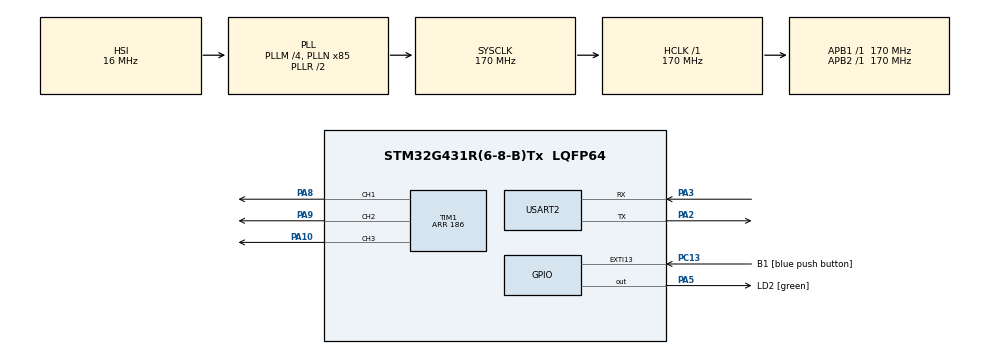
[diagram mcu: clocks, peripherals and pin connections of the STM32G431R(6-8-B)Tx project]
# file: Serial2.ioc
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Mcu.Family=STM32G4
Mcu.Name=STM32G431R(6-8-B)Tx
Mcu.Package=LQFP64
NVIC.PriorityGroup=NVIC_PRIORITYGROUP_4
NVIC.USART2_IRQn=true\:0\:0\:false\:false\:true\:true\:true\:true
PA10.Signal=S_TIM1_CH3
PA13.GPIO_Label=T_SWDIO
PA13.Mode=Serial_Wire
PA13.Signal=SYS_JTMS-SWDIO
PA14.GPIO_Label=T_SWCLK
PA14.Mode=Serial_Wire
PA14.Signal=SYS_JTCK-SWCLK
PA2.Mode=Asynchronous
PA2.Signal=USART2_TX
PA3.Mode=Asynchronous
PA3.Signal=USART2_RX
PA5.GPIO_Label=LD2 [green]
PA5.Signal=GPIO_Output
PA8.Signal=S_TIM1_CH1
PA9.Signal=S_TIM1_CH2
PB3.GPIO_Label=T_SWO
PB3.Signal=SYS_JTDO-SWO
PC13.GPIO_Label=B1 [blue push button]
PC13.Signal=GPXTI13
PC14-OSC32_IN.Mode=LSE-External-Oscillator
PC14-OSC32_IN.Signal=RCC_OSC32_IN
PC15-OSC32_OUT.Mode=LSE-External-Oscillator
PC15-OSC32_OUT.Signal=RCC_OSC32_OUT
PF0-OSC_IN.Mode=HSE-External-Oscillator
PF0-OSC_IN.Signal=RCC_OSC_IN
PF1-OSC_OUT.Mode=HSE-External-Oscillator
PF1-OSC_OUT.Signal=RCC_OSC_OUT
ProjectManager.HeapSize=0x200
ProjectManager.StackSize=0x400
ProjectManager.TargetToolchain=STM32CubeIDE
RCC.ADC12Freq_Value=170000000
RCC.AHBFreq_Value=170000000
RCC.APB1Freq_Value=170000000
RCC.APB1TimFreq_Value=170000000
RCC.APB2Freq_Value=170000000
RCC.APB2TimFreq_Value=170000000
RCC.CortexFreq_Value=170000000
RCC.EXTERNAL_CLOCK_VALUE=12288000
RCC.HCLKFreq_Value=170000000
RCC.HSE_VALUE=24000000
RCC.HSI48_VALUE=48000000
RCC.HSI_VALUE=16000000
RCC.PLLM=RCC_PLLM_DIV4
RCC.PLLN=85
RCC.RTCClockSelection=RCC_RTCCLKSOURCE_LSE
RCC.SYSCLKFreq_VALUE=170000000
RCC.SYSCLKSource=RCC_SYSCLKSOURCE_PLLCLK
RCC.USBFreq_Value=170000000
RCC.VCOOutputFreq_Value=340000000
SH.S_TIM1_CH1.0=TIM1_CH1,PWM Generation1 CH1
SH.S_TIM1_CH2.0=TIM1_CH2,PWM Generation2 CH2
SH.S_TIM1_CH3.0=TIM1_CH3,PWM Generation3 CH3
TIM1.Channel-PWM\ Generation1\ CH1=TIM_CHANNEL_1
TIM1.Channel-PWM\ Generation2\ CH2=TIM_CHANNEL_2
TIM1.Channel-PWM\ Generation3\ CH3=TIM_CHANNEL_3
TIM1.PeriodNoDither=186
TIM1.PulseNoDither_1=186/4
TIM1.PulseNoDither_2=186/4
TIM1.PulseNoDither_3=186/4
USART2.VirtualMode-Asynchronous=VM_ASYNC
VP_SYS_VS_DBSignals.Mode=DisableDeadBatterySignals
VP_TIM1_VS_ClockSourceINT.Mode=Internal
board=NUCLEO-G431RB

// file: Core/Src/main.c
/* USER CODE BEGIN Header */
/**
  ******************************************************************************
  * @file           : main.c
  * @brief          : Main program body
  ******************************************************************************
  * @attention
  *
  * Copyright (c) 2024 STMicroelectronics.
  * All rights reserved.
  *
  * This software is licensed under terms that can be found in the LICENSE file
  * in the root directory of this software component.
  * If no LICENSE file comes with this software, it is provided AS-IS.
  *
  ******************************************************************************
  */
/* USER CODE END Header */
#include "main.h"

TIM_HandleTypeDef htim1;

UART_HandleTypeDef huart2;

/* USER CODE BEGIN PV */
typedef enum {
	COMSTATE_SYNCH,
	COMSTATE_SIZE,
	COMSTATE_PAYLOAD
} comState_t;

comState_t comState = COMSTATE_SYNCH;
uint8_t rxBuff[255];
uint8_t txAck[1] = { 0x55 };
uint8_t txAckSz[1] = { 0x66 };
uint8_t txAckPl[1];

uint16_t payloadLen = 0;
uint32_t tk = 0, lastTk = 0;
uint32_t timeOut_ms = 1000;
/* USER CODE END PV */

void SystemClock_Config(void);
static void MX_GPIO_Init(void);
static void MX_USART2_UART_Init(void);
static void MX_TIM1_Init(void);

/* USER CODE BEGIN 0 */
uint8_t computeAck(uint8_t* buff, uint16_t len) {
	uint32_t sum = 0;
	for (uint8_t i = 0; i < len; i++) {
		sum += buff[i];
	}
	sum = sum & 0xffff;
	uint8_t lowByte = sum & 0xff; // Extract the low byte
	uint8_t highByte = (sum >> 8) & 0xff; // Extract the high byte
	return lowByte + highByte;
}

uint16_t ARR;
uint8_t countingMode;
uint16_t CCR1;
uint8_t mode1;
uint16_t CCR2;
uint8_t mode2;
uint16_t CCR3;
uint8_t mode3;

void setCountingMode(uint8_t countingMode) {
	uint32_t tmpcr1 = TIM1->CR1;
	if (countingMode == 0) {
		tmpcr1 &= ~(TIM_CR1_DIR | TIM_CR1_CMS);
		tmpcr1 |= TIM_COUNTERMODE_UP;
	}
	if (countingMode == 1) {
		tmpcr1 &= ~(TIM_CR1_DIR | TIM_CR1_CMS);
		tmpcr1 |= TIM_COUNTERMODE_DOWN;
	}
	if (countingMode == 2) {
		tmpcr1 &= ~(TIM_CR1_DIR | TIM_CR1_CMS);
		tmpcr1 |= TIM_COUNTERMODE_CENTERALIGNED1;
	}
	TIM1->CR1 = tmpcr1;
}

void setCompareMode(uint8_t mode, uint8_t channel) {
	uint32_t tmpccmrx;
	uint32_t pwmMode;
	if (mode == 0) {
		pwmMode = TIM_OCMODE_PWM1;
	} else {
		pwmMode = TIM_OCMODE_PWM2;
	}
	if (channel == 1) {
		tmpccmrx = TIM1->CCMR1;
		tmpccmrx &= ~TIM_CCMR1_OC1M;
		tmpccmrx |= pwmMode;
		TIM1->CCMR1 = tmpccmrx;
	}
	if (channel == 2) {
		tmpccmrx = TIM1->CCMR1;
		tmpccmrx &= ~TIM_CCMR1_OC2M;
		tmpccmrx &= ~TIM_CCMR1_CC2S;
		tmpccmrx |= (pwmMode << 8U);
		TIM1->CCMR1 = tmpccmrx;
	}
	if (channel == 3) {
		tmpccmrx = TIM1->CCMR2;
		tmpccmrx &= ~TIM_CCMR2_OC3M;
		tmpccmrx &= ~TIM_CCMR2_CC3S;
		tmpccmrx |= pwmMode;
		TIM1->CCMR2 = tmpccmrx;
	}
}

void decode(uint8_t *rx) {
	ARR = (rx[1] >> 8) + rx[0];
	TIM1->ARR = ARR;

	if (countingMode != rx[2]) {
		countingMode = rx[2];
		setCountingMode(countingMode);
	}

	CCR1 = (rx[4] >> 8) + rx[3];
	TIM1->CCR1 = CCR1;

	mode1 = rx[5];
	setCompareMode(mode1, 1);

	CCR2 = (rx[7] >> 8) + rx[6];
	TIM1->CCR2 = CCR2;

	mode1 = rx[8];
	setCompareMode(mode2, 2);

	CCR3 = (rx[10] >> 8) + rx[9];
	TIM1->CCR3 = CCR3;

	mode1 = rx[11];
	setCompareMode(mode3, 3);
}

void HAL_UART_RxCpltCallback(UART_HandleTypeDef *huart) {
	switch (comState) {
		case COMSTATE_SYNCH:
		{
			if (rxBuff[0] == 0xaa) {
				HAL_UART_Transmit_IT(&huart2, txAck, 1);
				comState = COMSTATE_SIZE;
				HAL_UART_Receive_IT(&huart2, rxBuff, 2);
				HAL_GPIO_WritePin(LD2_GPIO_Port, LD2_Pin, GPIO_PIN_SET);
				lastTk = HAL_GetTick();
			}
		}
		break;
		case COMSTATE_SIZE:
		{
			payloadLen = rxBuff[0] + (rxBuff[1] * 256);
			HAL_UART_Transmit_IT(&huart2, txAckSz, 1);
			comState = COMSTATE_PAYLOAD;
			HAL_UART_Receive_IT(&huart2, rxBuff, payloadLen);
		}
		break;
		case COMSTATE_PAYLOAD:
		{
			txAckPl[0] = computeAck(rxBuff, payloadLen);
			HAL_UART_Transmit_IT(&huart2, txAckPl, 1);
			comState = COMSTATE_SIZE;
			HAL_UART_Receive_IT(&huart2, rxBuff, 2);
			lastTk = HAL_GetTick();
			decode(rxBuff);
		}
		break;
	}

}
/* USER CODE END 0 */

int main(void)
{

  /* MCU Configuration--------------------------------------------------------*/

  /* Reset of all peripherals, Initializes the Flash interface and the Systick. */
  HAL_Init();

  /* Configure the system clock */
  SystemClock_Config();

  /* Initialize all configured peripherals */
  MX_GPIO_Init();
  MX_USART2_UART_Init();
  MX_TIM1_Init();
  /* USER CODE BEGIN 2 */
  HAL_TIM_PWM_Start(&htim1, TIM_CHANNEL_1);
  HAL_TIM_PWM_Start(&htim1, TIM_CHANNEL_2);
  HAL_TIM_PWM_Start(&htim1, TIM_CHANNEL_3);

  comState = COMSTATE_SYNCH;
  HAL_UART_Receive_IT(&huart2, rxBuff, 1);
  lastTk = HAL_GetTick();

  /* USER CODE END 2 */

  /* Infinite loop */
  /* USER CODE BEGIN WHILE */
  while (1)
  {
	  tk = HAL_GetTick();
	  if (tk > lastTk + timeOut_ms) {
		  HAL_UART_AbortReceive(&huart2);
		  comState = COMSTATE_SYNCH;
		  HAL_UART_Receive_IT(&huart2, rxBuff, 1);
		  lastTk = HAL_GetTick();
		  HAL_GPIO_TogglePin(LD2_GPIO_Port, LD2_Pin);
	  }
    /* USER CODE END WHILE */

  }
}

void SystemClock_Config(void)
{
  RCC_OscInitTypeDef RCC_OscInitStruct = {0};
  RCC_ClkInitTypeDef RCC_ClkInitStruct = {0};

  /** Configure the main internal regulator output voltage
  */
  HAL_PWREx_ControlVoltageScaling(PWR_REGULATOR_VOLTAGE_SCALE1_BOOST);

  /** Initializes the RCC Oscillators according to the specified parameters
  * in the RCC_OscInitTypeDef structure.
  */
  RCC_OscInitStruct.OscillatorType = RCC_OSCILLATORTYPE_HSI;
  RCC_OscInitStruct.HSIState = RCC_HSI_ON;
  RCC_OscInitStruct.HSICalibrationValue = RCC_HSICALIBRATION_DEFAULT;
  RCC_OscInitStruct.PLL.PLLState = RCC_PLL_ON;
  RCC_OscInitStruct.PLL.PLLSource = RCC_PLLSOURCE_HSI;
  RCC_OscInitStruct.PLL.PLLM = RCC_PLLM_DIV4;
  RCC_OscInitStruct.PLL.PLLN = 85;
  RCC_OscInitStruct.PLL.PLLP = RCC_PLLP_DIV2;
  RCC_OscInitStruct.PLL.PLLQ = RCC_PLLQ_DIV2;
  RCC_OscInitStruct.PLL.PLLR = RCC_PLLR_DIV2;
  if (HAL_RCC_OscConfig(&RCC_OscInitStruct) != HAL_OK)
  {
    Error_Handler();
  }

  /** Initializes the CPU, AHB and APB buses clocks
  */
  RCC_ClkInitStruct.ClockType = RCC_CLOCKTYPE_HCLK|RCC_CLOCKTYPE_SYSCLK
                              |RCC_CLOCKTYPE_PCLK1|RCC_CLOCKTYPE_PCLK2;
  RCC_ClkInitStruct.SYSCLKSource = RCC_SYSCLKSOURCE_PLLCLK;
  RCC_ClkInitStruct.AHBCLKDivider = RCC_SYSCLK_DIV1;
  RCC_ClkInitStruct.APB1CLKDivider = RCC_HCLK_DIV1;
  RCC_ClkInitStruct.APB2CLKDivider = RCC_HCLK_DIV1;

  if (HAL_RCC_ClockConfig(&RCC_ClkInitStruct, FLASH_LATENCY_4) != HAL_OK)
  {
    Error_Handler();
  }
}

static void MX_TIM1_Init(void)
{

  TIM_ClockConfigTypeDef sClockSourceConfig = {0};
  TIM_MasterConfigTypeDef sMasterConfig = {0};
  TIM_OC_InitTypeDef sConfigOC = {0};
  TIM_BreakDeadTimeConfigTypeDef sBreakDeadTimeConfig = {0};

  htim1.Instance = TIM1;
  htim1.Init.Prescaler = 0;
  htim1.Init.CounterMode = TIM_COUNTERMODE_UP;
  htim1.Init.Period = 186;
  htim1.Init.ClockDivision = TIM_CLOCKDIVISION_DIV1;
  htim1.Init.RepetitionCounter = 0;
  htim1.Init.AutoReloadPreload = TIM_AUTORELOAD_PRELOAD_DISABLE;
  if (HAL_TIM_Base_Init(&htim1) != HAL_OK)
  {
    Error_Handler();
  }
  sClockSourceConfig.ClockSource = TIM_CLOCKSOURCE_INTERNAL;
  if (HAL_TIM_ConfigClockSource(&htim1, &sClockSourceConfig) != HAL_OK)
  {
    Error_Handler();
  }
  if (HAL_TIM_PWM_Init(&htim1) != HAL_OK)
  {
    Error_Handler();
  }
  sMasterConfig.MasterOutputTrigger = TIM_TRGO_RESET;
  sMasterConfig.MasterOutputTrigger2 = TIM_TRGO2_RESET;
  sMasterConfig.MasterSlaveMode = TIM_MASTERSLAVEMODE_DISABLE;
  if (HAL_TIMEx_MasterConfigSynchronization(&htim1, &sMasterConfig) != HAL_OK)
  {
    Error_Handler();
  }
  sConfigOC.OCMode = TIM_OCMODE_PWM1;
  sConfigOC.Pulse = 46;
  sConfigOC.OCPolarity = TIM_OCPOLARITY_HIGH;
  sConfigOC.OCNPolarity = TIM_OCNPOLARITY_HIGH;
  sConfigOC.OCFastMode = TIM_OCFAST_DISABLE;
  sConfigOC.OCIdleState = TIM_OCIDLESTATE_RESET;
  sConfigOC.OCNIdleState = TIM_OCNIDLESTATE_RESET;
  if (HAL_TIM_PWM_ConfigChannel(&htim1, &sConfigOC, TIM_CHANNEL_1) != HAL_OK)
  {
    Error_Handler();
  }
  if (HAL_TIM_PWM_ConfigChannel(&htim1, &sConfigOC, TIM_CHANNEL_2) != HAL_OK)
  {
    Error_Handler();
  }
  if (HAL_TIM_PWM_ConfigChannel(&htim1, &sConfigOC, TIM_CHANNEL_3) != HAL_OK)
  {
    Error_Handler();
  }
  sBreakDeadTimeConfig.OffStateRunMode = TIM_OSSR_DISABLE;
  sBreakDeadTimeConfig.OffStateIDLEMode = TIM_OSSI_DISABLE;
  sBreakDeadTimeConfig.LockLevel = TIM_LOCKLEVEL_OFF;
  sBreakDeadTimeConfig.DeadTime = 0;
  sBreakDeadTimeConfig.BreakState = TIM_BREAK_DISABLE;
  sBreakDeadTimeConfig.BreakPolarity = TIM_BREAKPOLARITY_HIGH;
  sBreakDeadTimeConfig.BreakFilter = 0;
  sBreakDeadTimeConfig.BreakAFMode = TIM_BREAK_AFMODE_INPUT;
  sBreakDeadTimeConfig.Break2State = TIM_BREAK2_DISABLE;
  sBreakDeadTimeConfig.Break2Polarity = TIM_BREAK2POLARITY_HIGH;
  sBreakDeadTimeConfig.Break2Filter = 0;
  sBreakDeadTimeConfig.Break2AFMode = TIM_BREAK_AFMODE_INPUT;
  sBreakDeadTimeConfig.AutomaticOutput = TIM_AUTOMATICOUTPUT_DISABLE;
  if (HAL_TIMEx_ConfigBreakDeadTime(&htim1, &sBreakDeadTimeConfig) != HAL_OK)
  {
    Error_Handler();
  }
  HAL_TIM_MspPostInit(&htim1);

}

static void MX_USART2_UART_Init(void)
{

  huart2.Instance = USART2;
  huart2.Init.BaudRate = 115200;
  huart2.Init.WordLength = UART_WORDLENGTH_8B;
  huart2.Init.StopBits = UART_STOPBITS_1;
  huart2.Init.Parity = UART_PARITY_NONE;
  huart2.Init.Mode = UART_MODE_TX_RX;
  huart2.Init.HwFlowCtl = UART_HWCONTROL_NONE;
  huart2.Init.OverSampling = UART_OVERSAMPLING_16;
  huart2.Init.OneBitSampling = UART_ONE_BIT_SAMPLE_DISABLE;
  huart2.Init.ClockPrescaler = UART_PRESCALER_DIV1;
  huart2.AdvancedInit.AdvFeatureInit = UART_ADVFEATURE_NO_INIT;
  if (HAL_UART_Init(&huart2) != HAL_OK)
  {
    Error_Handler();
  }
  if (HAL_UARTEx_SetTxFifoThreshold(&huart2, UART_TXFIFO_THRESHOLD_1_8) != HAL_OK)
  {
    Error_Handler();
  }
  if (HAL_UARTEx_SetRxFifoThreshold(&huart2, UART_RXFIFO_THRESHOLD_1_8) != HAL_OK)
  {
    Error_Handler();
  }
  if (HAL_UARTEx_DisableFifoMode(&huart2) != HAL_OK)
  {
    Error_Handler();
  }

}

static void MX_GPIO_Init(void)
{
  GPIO_InitTypeDef GPIO_InitStruct = {0};

  /* GPIO Ports Clock Enable */
  __HAL_RCC_GPIOC_CLK_ENABLE();
  __HAL_RCC_GPIOF_CLK_ENABLE();
  __HAL_RCC_GPIOA_CLK_ENABLE();
  __HAL_RCC_GPIOB_CLK_ENABLE();

  /*Configure GPIO pin Output Level */
  HAL_GPIO_WritePin(LD2_GPIO_Port, LD2_Pin, GPIO_PIN_RESET);

  /*Configure GPIO pin : B1_Pin */
  GPIO_InitStruct.Pin = B1_Pin;
  GPIO_InitStruct.Mode = GPIO_MODE_IT_RISING;
  GPIO_InitStruct.Pull = GPIO_NOPULL;
  HAL_GPIO_Init(B1_GPIO_Port, &GPIO_InitStruct);

  /*Configure GPIO pin : LD2_Pin */
  GPIO_InitStruct.Pin = LD2_Pin;
  GPIO_InitStruct.Mode = GPIO_MODE_OUTPUT_PP;
  GPIO_InitStruct.Pull = GPIO_NOPULL;
  GPIO_InitStruct.Speed = GPIO_SPEED_FREQ_LOW;
  HAL_GPIO_Init(LD2_GPIO_Port, &GPIO_InitStruct);

}

void Error_Handler(void)
{
  __disable_irq();
  while (1)
  {
  }
}
